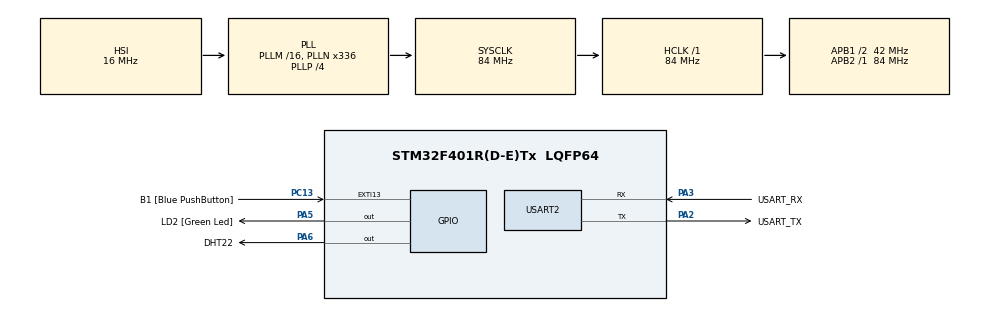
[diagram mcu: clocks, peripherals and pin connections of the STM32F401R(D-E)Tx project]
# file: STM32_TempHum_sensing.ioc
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IWDG.Prescaler=IWDG_PRESCALER_32
IWDG.Reload=3000
Mcu.Family=STM32F4
Mcu.Name=STM32F401R(D-E)Tx
Mcu.Package=LQFP64
NVIC.PriorityGroup=NVIC_PRIORITYGROUP_4
NVIC.TIM1_UP_TIM10_IRQn=true\:15\:0\:false\:false\:true\:false\:true\:true
NVIC.TimeBase=TIM1_UP_TIM10_IRQn
NVIC.TimeBaseIP=TIM1
PA13.GPIO_Label=TMS
PA13.Mode=Trace_Asynchronous_SW
PA13.Signal=SYS_JTMS-SWDIO
PA14.GPIO_Label=TCK
PA14.Mode=Trace_Asynchronous_SW
PA14.Signal=SYS_JTCK-SWCLK
PA2.GPIO_Label=USART_TX
PA2.GPIO_Mode=GPIO_MODE_AF_PP
PA2.GPIO_PuPd=GPIO_NOPULL
PA2.GPIO_Speed=GPIO_SPEED_FREQ_LOW
PA2.Mode=Asynchronous
PA2.Signal=USART2_TX
PA3.GPIO_Label=USART_RX
PA3.GPIO_Mode=GPIO_MODE_AF_PP
PA3.GPIO_PuPd=GPIO_NOPULL
PA3.GPIO_Speed=GPIO_SPEED_FREQ_LOW
PA3.Mode=Asynchronous
PA3.Signal=USART2_RX
PA5.GPIO_Label=LD2 [Green Led]
PA5.GPIO_Mode=GPIO_MODE_OUTPUT_PP
PA5.GPIO_PuPd=GPIO_NOPULL
PA5.GPIO_Speed=GPIO_SPEED_FREQ_LOW
PA5.Signal=GPIO_Output
PA6.GPIO_Label=DHT22
PA6.GPIO_Speed=GPIO_SPEED_FREQ_VERY_HIGH
PA6.PinState=GPIO_PIN_SET
PA6.Signal=GPIO_Output
PB3.GPIO_Label=SWO
PB3.Mode=Trace_Asynchronous_SW
PB3.Signal=SYS_JTDO-SWO
PC13-ANTI_TAMP.GPIO_Label=B1 [Blue PushButton]
PC13-ANTI_TAMP.GPIO_ModeDefaultEXTI=GPIO_MODE_IT_FALLING
PC13-ANTI_TAMP.GPIO_PuPd=GPIO_NOPULL
PC13-ANTI_TAMP.Signal=GPXTI13
PC14-OSC32_IN.Mode=LSE-External-Oscillator
PC14-OSC32_IN.Signal=RCC_OSC32_IN
PC15-OSC32_OUT.Mode=LSE-External-Oscillator
PC15-OSC32_OUT.Signal=RCC_OSC32_OUT
PH0\ -\ OSC_IN.Mode=HSE-External-Clock-Source
PH0\ -\ OSC_IN.Signal=RCC_OSC_IN
PH1\ -\ OSC_OUT.Mode=HSE-External-Clock-Source
PH1\ -\ OSC_OUT.Signal=RCC_OSC_OUT
ProjectManager.HeapSize=0x200
ProjectManager.StackSize=0x400
ProjectManager.TargetToolchain=STM32CubeIDE
RCC.48MHZClocksFreq_Value=48000000
RCC.AHBFreq_Value=84000000
RCC.APB1CLKDivider=RCC_HCLK_DIV2
RCC.APB1Freq_Value=42000000
RCC.APB1TimFreq_Value=84000000
RCC.APB2Freq_Value=84000000
RCC.APB2TimFreq_Value=84000000
RCC.CortexFreq_Value=84000000
RCC.HCLKFreq_Value=84000000
RCC.HSE_VALUE=8000000
RCC.HSI_VALUE=16000000
RCC.PLLN=336
RCC.PLLP=RCC_PLLP_DIV4
RCC.PLLQ=7
RCC.SYSCLKFreq_VALUE=84000000
RCC.SYSCLKSource=RCC_SYSCLKSOURCE_PLLCLK
RCC.VCOOutputFreq_Value=336000000
USART2.VirtualMode=VM_ASYNC
VP_IWDG_VS_IWDG.Mode=IWDG_Activate
VP_SYS_VS_tim1.Mode=TIM1
board=NUCLEO-F401RE

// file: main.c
/* USER CODE BEGIN Header */
/**
  ******************************************************************************
  * @file           : main.c
  * @brief          : Main program body
  ******************************************************************************
  * @attention
  *
  * Copyright (c) 2026 STMicroelectronics.
  * All rights reserved.
  *
  * This software is licensed under terms that can be found in the LICENSE file
  * in the root directory of this software component.
  * If no LICENSE file comes with this software, it is provided AS-IS.
  *
  ******************************************************************************
  */
/* USER CODE END Header */
#include "main.h"

/* USER CODE BEGIN Includes */
#include "dht22.h"
#include <stdio.h>

/* USER CODE END Includes */

IWDG_HandleTypeDef hiwdg;

UART_HandleTypeDef huart2;

void SystemClock_Config(void);
static void MX_GPIO_Init(void);
static void MX_USART2_UART_Init(void);
static void MX_IWDG_Init(void);

/* USER CODE BEGIN 0 */

int __io_putchar(int ch)
{
    HAL_UART_Transmit(&huart2, (uint8_t *)&ch, 1, HAL_MAX_DELAY);
    return ch;
}
/* USER CODE END 0 */
/* USER CODE END 0 */

int main(void)
{

  /* MCU Configuration--------------------------------------------------------*/

  /* Reset of all peripherals, Initializes the Flash interface and the Systick. */
  HAL_Init();

  /* Configure the system clock */
  SystemClock_Config();

  /* Initialize all configured peripherals */
  MX_GPIO_Init();
  MX_USART2_UART_Init();
  MX_IWDG_Init();
  /* USER CODE BEGIN 2 */
  DHT22_Init();
  printf("DHT22 Bare-metal + IWDG demo\r\n");
  /* USER CODE END 2 */

  /* Infinite loop */
  /* USER CODE BEGIN WHILE */
  while (1)
  {

	  DHT22_Data_t sensor_data;
	      DHT22_Status_t status = DHT22_Read(&sensor_data);

	      switch (status) {
	          case DHT22_OK:
	              printf("Temp: %.1f C  |  Hum: %.1f %%\r\n", sensor_data.temperature, sensor_data.humidity);
	              break;
	          case DHT22_TIMEOUT:
	              printf("ERROR: Timeout\r\n");
	              break;
	          case DHT22_CRC_ERR:
	              printf("ERROR: Checksum\r\n");
	              break;
	          default:
	              printf("ERROR: Unknown\r\n");
	              break;
	      }

	      HAL_IWDG_Refresh(&hiwdg);
	      HAL_Delay(2000);
	      HAL_IWDG_Refresh(&hiwdg);
    /* USER CODE END WHILE */

  }
}

void SystemClock_Config(void)
{
  RCC_OscInitTypeDef RCC_OscInitStruct = {0};
  RCC_ClkInitTypeDef RCC_ClkInitStruct = {0};

  /** Configure the main internal regulator output voltage
  */
  __HAL_RCC_PWR_CLK_ENABLE();
  __HAL_PWR_VOLTAGESCALING_CONFIG(PWR_REGULATOR_VOLTAGE_SCALE2);

  /** Initializes the RCC Oscillators according to the specified parameters
  * in the RCC_OscInitTypeDef structure.
  */
  RCC_OscInitStruct.OscillatorType = RCC_OSCILLATORTYPE_HSI|RCC_OSCILLATORTYPE_LSI;
  RCC_OscInitStruct.HSIState = RCC_HSI_ON;
  RCC_OscInitStruct.HSICalibrationValue = RCC_HSICALIBRATION_DEFAULT;
  RCC_OscInitStruct.LSIState = RCC_LSI_ON;
  RCC_OscInitStruct.PLL.PLLState = RCC_PLL_ON;
  RCC_OscInitStruct.PLL.PLLSource = RCC_PLLSOURCE_HSI;
  RCC_OscInitStruct.PLL.PLLM = 16;
  RCC_OscInitStruct.PLL.PLLN = 336;
  RCC_OscInitStruct.PLL.PLLP = RCC_PLLP_DIV4;
  RCC_OscInitStruct.PLL.PLLQ = 7;
  if (HAL_RCC_OscConfig(&RCC_OscInitStruct) != HAL_OK)
  {
    Error_Handler();
  }

  /** Initializes the CPU, AHB and APB buses clocks
  */
  RCC_ClkInitStruct.ClockType = RCC_CLOCKTYPE_HCLK|RCC_CLOCKTYPE_SYSCLK
                              |RCC_CLOCKTYPE_PCLK1|RCC_CLOCKTYPE_PCLK2;
  RCC_ClkInitStruct.SYSCLKSource = RCC_SYSCLKSOURCE_PLLCLK;
  RCC_ClkInitStruct.AHBCLKDivider = RCC_SYSCLK_DIV1;
  RCC_ClkInitStruct.APB1CLKDivider = RCC_HCLK_DIV2;
  RCC_ClkInitStruct.APB2CLKDivider = RCC_HCLK_DIV1;

  if (HAL_RCC_ClockConfig(&RCC_ClkInitStruct, FLASH_LATENCY_2) != HAL_OK)
  {
    Error_Handler();
  }
}

static void MX_IWDG_Init(void)
{

  hiwdg.Instance = IWDG;
  hiwdg.Init.Prescaler = IWDG_PRESCALER_32;
  hiwdg.Init.Reload = 3000;
  if (HAL_IWDG_Init(&hiwdg) != HAL_OK)
  {
    Error_Handler();
  }

}

static void MX_USART2_UART_Init(void)
{

  huart2.Instance = USART2;
  huart2.Init.BaudRate = 115200;
  huart2.Init.WordLength = UART_WORDLENGTH_8B;
  huart2.Init.StopBits = UART_STOPBITS_1;
  huart2.Init.Parity = UART_PARITY_NONE;
  huart2.Init.Mode = UART_MODE_TX_RX;
  huart2.Init.HwFlowCtl = UART_HWCONTROL_NONE;
  huart2.Init.OverSampling = UART_OVERSAMPLING_16;
  if (HAL_UART_Init(&huart2) != HAL_OK)
  {
    Error_Handler();
  }

}

static void MX_GPIO_Init(void)
{
  GPIO_InitTypeDef GPIO_InitStruct = {0};

  /* GPIO Ports Clock Enable */
  __HAL_RCC_GPIOC_CLK_ENABLE();
  __HAL_RCC_GPIOH_CLK_ENABLE();
  __HAL_RCC_GPIOA_CLK_ENABLE();
  __HAL_RCC_GPIOB_CLK_ENABLE();

  /*Configure GPIO pin Output Level */
  HAL_GPIO_WritePin(LD2_GPIO_Port, LD2_Pin, GPIO_PIN_RESET);

  /*Configure GPIO pin Output Level */
  HAL_GPIO_WritePin(DHT22_GPIO_Port, DHT22_Pin, GPIO_PIN_SET);

  /*Configure GPIO pin : B1_Pin */
  GPIO_InitStruct.Pin = B1_Pin;
  GPIO_InitStruct.Mode = GPIO_MODE_IT_FALLING;
  GPIO_InitStruct.Pull = GPIO_NOPULL;
  HAL_GPIO_Init(B1_GPIO_Port, &GPIO_InitStruct);

  /*Configure GPIO pin : LD2_Pin */
  GPIO_InitStruct.Pin = LD2_Pin;
  GPIO_InitStruct.Mode = GPIO_MODE_OUTPUT_PP;
  GPIO_InitStruct.Pull = GPIO_NOPULL;
  GPIO_InitStruct.Speed = GPIO_SPEED_FREQ_LOW;
  HAL_GPIO_Init(LD2_GPIO_Port, &GPIO_InitStruct);

  /*Configure GPIO pin : DHT22_Pin */
  GPIO_InitStruct.Pin = DHT22_Pin;
  GPIO_InitStruct.Mode = GPIO_MODE_OUTPUT_PP;
  GPIO_InitStruct.Pull = GPIO_NOPULL;
  GPIO_InitStruct.Speed = GPIO_SPEED_FREQ_VERY_HIGH;
  HAL_GPIO_Init(DHT22_GPIO_Port, &GPIO_InitStruct);

}

void HAL_TIM_PeriodElapsedCallback(TIM_HandleTypeDef *htim)
{
  if (htim->Instance == TIM1)
  {
    HAL_IncTick();
  }
}

void Error_Handler(void)
{
  __disable_irq();
  while (1)
  {
  }
}
